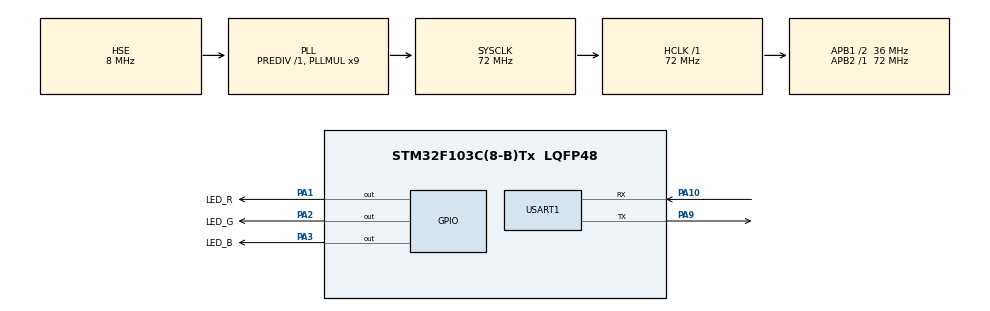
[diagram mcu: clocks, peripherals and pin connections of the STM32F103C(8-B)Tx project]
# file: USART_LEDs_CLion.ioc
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Mcu.Family=STM32F1
Mcu.Name=STM32F103C(8-B)Tx
Mcu.Package=LQFP48
NVIC.PriorityGroup=NVIC_PRIORITYGROUP_4
NVIC.USART1_IRQn=true\:0\:0\:false\:false\:true\:true\:true\:true
PA1.GPIO_Label=LED_R
PA1.PinState=GPIO_PIN_SET
PA1.Signal=GPIO_Output
PA10.Mode=Asynchronous
PA10.Signal=USART1_RX
PA13.Mode=Serial_Wire
PA13.Signal=SYS_JTMS-SWDIO
PA14.Mode=Serial_Wire
PA14.Signal=SYS_JTCK-SWCLK
PA2.GPIO_Label=LED_G
PA2.PinState=GPIO_PIN_SET
PA2.Signal=GPIO_Output
PA3.GPIO_Label=LED_B
PA3.PinState=GPIO_PIN_SET
PA3.Signal=GPIO_Output
PA9.Mode=Asynchronous
PA9.Signal=USART1_TX
PC14-OSC32_IN.Mode=LSE-External-Oscillator
PC14-OSC32_IN.Signal=RCC_OSC32_IN
PC15-OSC32_OUT.Mode=LSE-External-Oscillator
PC15-OSC32_OUT.Signal=RCC_OSC32_OUT
PD0-OSC_IN.Mode=HSE-External-Oscillator
PD0-OSC_IN.Signal=RCC_OSC_IN
PD1-OSC_OUT.Mode=HSE-External-Oscillator
PD1-OSC_OUT.Signal=RCC_OSC_OUT
ProjectManager.HeapSize=0x200
ProjectManager.StackSize=0x400
ProjectManager.TargetToolchain=STM32CubeIDE
RCC.AHBFreq_Value=72000000
RCC.APB1CLKDivider=RCC_HCLK_DIV2
RCC.APB1Freq_Value=36000000
RCC.APB1TimFreq_Value=72000000
RCC.APB2Freq_Value=72000000
RCC.APB2TimFreq_Value=72000000
RCC.HCLKFreq_Value=72000000
RCC.PLLMUL=RCC_PLL_MUL9
RCC.PLLSourceVirtual=RCC_PLLSOURCE_HSE
RCC.SYSCLKFreq_VALUE=72000000
RCC.SYSCLKSource=RCC_SYSCLKSOURCE_PLLCLK
RCC.USBFreq_Value=72000000
USART1.VirtualMode=VM_ASYNC
board=custom

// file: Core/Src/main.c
/* USER CODE BEGIN Header */
/**
  ******************************************************************************
  * @file           : main.c
  * @brief          : Main program body
  ******************************************************************************
  * @attention
  *
  * Copyright (c) 2025 STMicroelectronics.
  * All rights reserved.
  *
  * This software is licensed under terms that can be found in the LICENSE file
  * in the root directory of this software component.
  * If no LICENSE file comes with this software, it is provided AS-IS.
  *
  ******************************************************************************
  */
/* USER CODE END Header */
#include "main.h"
#include "usart.h"
#include "gpio.h"

/* USER CODE BEGIN Includes */
#include <stdio.h>
#include <string.h>
/* USER CODE END Includes */

/* USER CODE BEGIN PV */
uint8_t RxBuff[3]={0}; //initialized to zero
uint8_t Rxcount=0;
/* USER CODE END PV */

void SystemClock_Config(void);

int main(void)
{

  /* MCU Configuration--------------------------------------------------------*/

  /* Reset of all peripherals, Initializes the Flash interface and the Systick. */
  HAL_Init();

  /* Configure the system clock */
  SystemClock_Config();

  /* Initialize all configured peripherals */
  MX_GPIO_Init();
  MX_USART1_UART_Init();
  /* USER CODE BEGIN 2 */
  HAL_UART_Receive_IT(&huart1, (uint8_t *)&RxBuff, 1);//Receive 1 byte in interrupt mode
  printf("串口中断控制LED，命令：ON OFF\r\n");
  /* USER CODE END 2 */

  /* Infinite loop */
  while (1)
  {

  }
}

void SystemClock_Config(void)
{
  RCC_OscInitTypeDef RCC_OscInitStruct = {0};
  RCC_ClkInitTypeDef RCC_ClkInitStruct = {0};

  /** Initializes the RCC Oscillators according to the specified parameters
  * in the RCC_OscInitTypeDef structure.
  */
  RCC_OscInitStruct.OscillatorType = RCC_OSCILLATORTYPE_HSE;
  RCC_OscInitStruct.HSEState = RCC_HSE_ON;
  RCC_OscInitStruct.HSEPredivValue = RCC_HSE_PREDIV_DIV1;
  RCC_OscInitStruct.HSIState = RCC_HSI_ON;
  RCC_OscInitStruct.PLL.PLLState = RCC_PLL_ON;
  RCC_OscInitStruct.PLL.PLLSource = RCC_PLLSOURCE_HSE;
  RCC_OscInitStruct.PLL.PLLMUL = RCC_PLL_MUL9;
  if (HAL_RCC_OscConfig(&RCC_OscInitStruct) != HAL_OK)
  {
    Error_Handler();
  }

  /** Initializes the CPU, AHB and APB buses clocks
  */
  RCC_ClkInitStruct.ClockType = RCC_CLOCKTYPE_HCLK|RCC_CLOCKTYPE_SYSCLK
                              |RCC_CLOCKTYPE_PCLK1|RCC_CLOCKTYPE_PCLK2;
  RCC_ClkInitStruct.SYSCLKSource = RCC_SYSCLKSOURCE_PLLCLK;
  RCC_ClkInitStruct.AHBCLKDivider = RCC_SYSCLK_DIV1;
  RCC_ClkInitStruct.APB1CLKDivider = RCC_HCLK_DIV2;
  RCC_ClkInitStruct.APB2CLKDivider = RCC_HCLK_DIV1;

  if (HAL_RCC_ClockConfig(&RCC_ClkInitStruct, FLASH_LATENCY_2) != HAL_OK)
  {
    Error_Handler();
  }
}

/* USER CODE BEGIN 4 */
void HAL_UART_RxCpltCallback(UART_HandleTypeDef *huart)
{
  if (huart->Instance == USART1)
  {
    Rxcount++;
    if (Rxcount == 2)
    {
      if (strncmp((char*)RxBuff, "ON", 2) == 0)
      {
        printf("LED ON!\r\n");
        HAL_GPIO_WritePin(GPIOA, LED_R_Pin|LED_G_Pin|LED_B_Pin, GPIO_PIN_RESET);
        Rxcount = 0;
        memset(RxBuff, 0, sizeof(RxBuff));
      }
      else if (strncmp((char*)RxBuff, "OF", 2) == 0)
      {
      }
      else
      {
        printf("Error Command Reset\r\n"); // 可选：提示用户输入错了
        Rxcount = 0;
        memset(RxBuff, 0, sizeof(RxBuff));
      }
    }
    else if (Rxcount == 3)
    {
      if (strncmp((char*)RxBuff, "OFF", 3) == 0)
      {
        printf("LED OFF!\r\n");
        HAL_GPIO_WritePin(GPIOA, LED_R_Pin|LED_G_Pin|LED_B_Pin, GPIO_PIN_SET);
        Rxcount = 0;
        memset(RxBuff, 0, sizeof(RxBuff));
      }
      else
      {
        Rxcount = 0;
        memset(RxBuff, 0, sizeof(RxBuff));
      }
    }
    HAL_UART_Receive_IT(&huart1, (uint8_t *)&RxBuff[Rxcount], 1);
  }
}

int _write(int file, char *data, int len)
{
  HAL_UART_Transmit(&huart1, (uint8_t*)data, len, HAL_MAX_DELAY);
  return len;
}
/* USER CODE END 4 */

void Error_Handler(void)
{
  __disable_irq();
  while (1)
  {
  }
}
